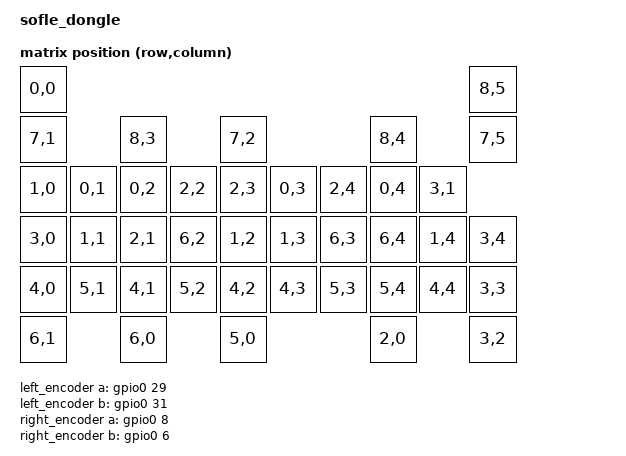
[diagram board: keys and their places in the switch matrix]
/*
 * Copyright (c) 2023 ZitaoTech
 *
 * SPDX-License-Identifier: MIT
 */

/dts-v1/;
#include <nordic/nrf52840_qiaa.dtsi>

#include <dt-bindings/led/led.h>
#include <dt-bindings/zmk/matrix_transform.h>
#include "zitaotech_q10-layouts.dtsi"



/ {
    model = "sofle_dongle";
    compatible = "ZitaoTech,sofle_dongle";

    chosen {
        zephyr,code-partition = &code_partition;
        zephyr,sram = &sram0;
        zephyr,flash = &flash0;
        zephyr,console = &cdc_acm_uart;
        zmk,kscan = &kscan0;
        zmk,physical-layouts = &zitaotech_q10_layout;
        zmk,studio-rpc-uart = &cdc_acm_uart; // ✅
    };
    default_transform: keymap_transform_0 {
        compatible = "zmk,matrix-transform";
        columns = <6>;
        rows = <9>;
        map = <
RC(0,0)                                                                   RC(8,5)
RC(7,1)          RC(8,3)             RC(7,2)             RC(8,4)          RC(7,5)
RC(1,0)  RC(0,1) RC(0,2) RC(2,2) RC(2,3) RC(0,3) RC(2,4) RC(0,4)  RC(3,1)
RC(3,0)  RC(1,1) RC(2,1) RC(6,2) RC(1,2) RC(1,3) RC(6,3) RC(6,4) RC(1,4)  RC(3,4)
RC(4,0)  RC(5,1) RC(4,1) RC(5,2) RC(4,2) RC(4,3) RC(5,3) RC(5,4) RC(4,4)  RC(3,3)
RC(6,1)          RC(6,0)             RC(5,0)             RC(2,0)          RC(3,2)
        >;
    };

left_encoder: encoder_left {
        compatible = "alps,ec11";
        a-gpios = <&gpio0 29 (GPIO_ACTIVE_HIGH | GPIO_OPEN_DRAIN)>;
        b-gpios = <&gpio0 31 (GPIO_ACTIVE_HIGH | GPIO_OPEN_DRAIN)>;
        resolution = <4>;
        steps = <30>;
        status = "disabled";
     };

right_encoder: encoder_right {
        compatible = "alps,ec11";
        a-gpios = <&gpio0 8 (GPIO_ACTIVE_HIGH | GPIO_OPEN_DRAIN)>;
        b-gpios = <&gpio0 6 (GPIO_ACTIVE_HIGH | GPIO_OPEN_DRAIN)>;
        resolution = <4>;
        steps = <30>;
        status = "disabled";
     };

     sensors: sensors {
        compatible = "zmk,keymap-sensors";
        sensors = <&left_encoder &right_encoder>;
        triggers-per-rotation = <15>;
    };

};



&usbd {
    status = "okay";
    cdc_acm_uart: cdc_acm_uart {
        compatible = "zephyr,cdc-acm-uart";
    };
};

&zitaotech_q10_layout{
	transform = <&default_transform>;
	kscan = <&kscan0>;
};

zephyr_udc0: &usbd {
    compatible = "nordic,nrf-usbd";
    status = "okay";
};

&flash0 {
    partitions {
        compatible = "fixed-partitions";
        #address-cells = <1>;
        #size-cells = <1>;

        sd_partition: partition@0 {
            reg = <0x00000000 0x00001000>;
        };

        code_partition: partition@1000 {
            reg = <0x00001000 0x000d3000>;
        };

        storage_partition: partition@d4000 {
            reg = <0x000d4000 0x00020000>;
        };

        boot_partition: partition@f4000 {
            reg = <0x000f4000 0x0000c000>;
        };
    };
};
